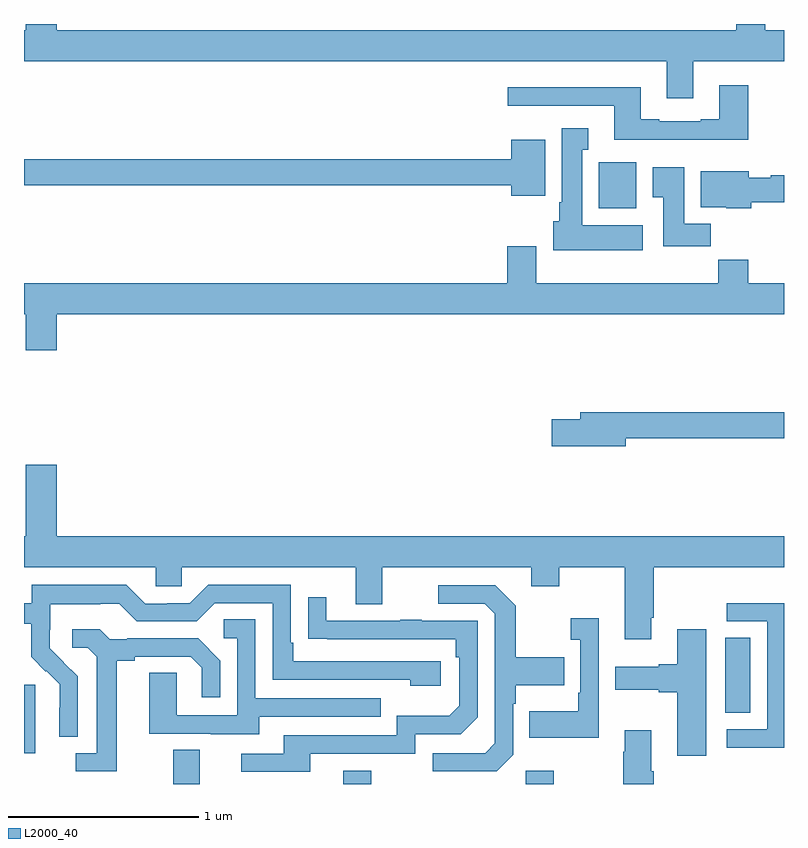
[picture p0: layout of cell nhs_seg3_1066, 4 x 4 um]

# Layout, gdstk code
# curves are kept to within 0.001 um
import gdstk
lib = gdstk.Library(unit=1e-6, precision=1e-09)
def R(c, l, rs):  # rectangles x0, y0, x1, y1
    for r in rs: c.add(gdstk.rectangle(r[:2], r[2:], *l))
def P(c, l, *ps):  # polygons
    for p in ps: c.add(gdstk.Polygon(p, *l))
L2000_40 = (2000, 40)

nhs_seg3_1066 = lib.new_cell('nhs_seg3_1066')
R(nhs_seg3_1066, L2000_40, [(165.785,742.4,165.925,742.58), (166.679,742.4,166.827,742.471), (167.64,742.4,167.787,742.471), (165,742.562,165.058,742.923), (168.692,742.774,168.823,743.171), (168.026,745.43,168.223,745.672)])
P(nhs_seg3_1066, L2000_40, [(168.523,746.204),(169,746.204),(169,746.368),(168.901,746.368),(168.901,746.4),(168.749,746.4),(168.749,746.368),(165.172,746.368),(165.172,746.4),(165.008,746.4),(165.008,746.368),(165,746.368),(165,746.204),(168.383,746.204),(168.383,746.01),(168.523,746.01)],
  [(168.812,746.077),(168.659,746.077),(168.659,745.9),(168.563,745.9),(168.563,745.887),(168.343,745.887),(168.343,745.9),(168.247,745.9),(168.247,746.068),(167.547,746.068),(167.547,745.971),(168.107,745.971),(168.107,745.79),(168.812,745.79)],
  [(168.256,745.342),(167.938,745.342),(167.938,745.739),(167.971,745.739),(167.971,745.852),(167.831,745.852),(167.831,745.462),(167.816,745.462),(167.816,745.362),(167.786,745.362),(167.786,745.208),(168.256,745.208)],
  [(167.743,745.792),(167.564,745.792),(167.564,745.688),(165,745.688),(165,745.552),(167.564,745.552),(167.564,745.496),(167.743,745.496)],
  [(168.614,745.348),(168.475,745.348),(168.475,745.645),(168.308,745.645),(168.308,745.489),(168.365,745.489),(168.365,745.23),(168.614,745.23)],
  [(168.827,745.462),(169,745.462),(169,745.604),(168.93,745.604),(168.93,745.591),(168.814,745.591),(168.814,745.624),(168.563,745.624),(168.563,745.436),(168.696,745.436),(168.696,745.43),(168.827,745.43)],
  [(165.172,744.872),(169,744.872),(169,745.036),(168.812,745.036),(168.812,745.16),(168.655,745.16),(168.655,745.036),(167.695,745.036),(167.695,745.231),(167.543,745.231),(167.543,745.036),(165,745.036),(165,744.872),(165.008,744.872),(165.008,744.684),(165.172,744.684)],
  [(168.166,744.22),(169,744.22),(169,744.356),(167.927,744.356),(167.927,744.32),(167.778,744.32),(167.778,744.178),(168.166,744.178)],
  [(168.301,743.275),(168.314,743.275),(168.314,743.54),(169,743.54),(169,743.704),(165.172,743.704),(165.172,744.079),(165.008,744.079),(165.008,743.704),(165,743.704),(165,743.54),(165.693,743.54),(165.693,743.442),(165.831,743.442),(165.831,743.54),(166.745,743.54),(166.745,743.346),(166.885,743.346),(166.885,743.54),(167.669,743.54),(167.669,743.441),(167.817,743.441),(167.817,743.54),(168.161,743.54),(168.161,743.163),(168.301,743.163)],
  [(165.282,742.966),(165.136,743.114),(165.136,743.211),(165.138,743.211),(165.138,743.345),(165.401,743.345),(165.401,743.349),(165.501,743.349),(165.594,743.256),(165.909,743.256),(166.005,743.352),(166.308,743.352),(166.308,742.95),(167.033,742.95),(167.033,742.916),(167.194,742.916),(167.194,743.046),(166.417,743.046),(166.417,743.143),(166.404,743.143),(166.404,743.448),(165.969,743.448),(165.873,743.352),(165.755,743.352),(165.755,743.349),(165.639,743.349),(165.539,743.449),(165.042,743.449),(165.042,743.352),(165,743.352),(165,743.244),(165.037,743.244),(165.037,743.069),(165.114,742.992),(165.117,742.995),(165.188,742.925),(165.188,742.802),(165.186,742.802),(165.186,742.648),(165.282,742.648)],
  [(167.574,742.554),(167.574,742.823),(167.587,742.823),(167.587,742.919),(167.843,742.919),(167.843,743.067),(167.587,743.067),(167.587,743.339),(167.481,743.445),(167.181,743.445),(167.181,743.349),(167.424,743.349),(167.478,743.295),(167.478,742.614),(167.427,742.563),(167.151,742.563),(167.151,742.467),(167.487,742.467)],
  [(166.507,742.56),(167.058,742.56),(167.058,742.662),(167.298,742.662),(167.388,742.752),(167.388,743.259),(167.093,743.259),(167.093,743.264),(166.981,743.264),(166.981,743.259),(166.591,743.259),(166.591,743.383),(166.495,743.383),(166.495,743.164),(167.272,743.163),(167.272,743.066),(167.292,743.066),(167.292,742.812),(167.239,742.759),(166.962,742.759),(166.962,742.656),(166.367,742.656),(166.367,742.56),(166.143,742.56),(166.143,742.464),(166.507,742.464)],
  [(169,743.352),(168.699,743.352),(168.699,743.256),(168.912,743.256),(168.912,742.689),(168.699,742.689),(168.699,742.591),(169,742.591)],
  [(168.024,743.272),(167.877,743.272),(167.877,743.159),(167.928,743.159),(167.928,742.879),(167.916,742.879),(167.916,742.783),(167.659,742.783),(167.659,742.643),(168.024,742.643)],
  [(166.237,742.755),(166.877,742.755),(166.877,742.851),(166.218,742.851),(166.218,743.267),(166.05,743.267),(166.05,743.166),(166.122,743.166),(166.122,742.761),(165.804,742.761),(165.804,742.985),(165.659,742.985),(165.659,742.665),(165.983,742.665),(165.983,742.661),(166.237,742.661)],
  [(168.592,743.215),(168.437,743.215),(168.437,743.03),(168.341,743.03),(168.341,743.017),(168.111,743.017),(168.111,742.895),(168.341,742.895),(168.341,742.883),(168.437,742.883),(168.437,742.548),(168.592,742.548)],
  [(165.487,743.048),(165.583,743.048),(165.583,743.07),(165.878,743.07),(165.935,743.013),(165.935,742.857),(166.032,742.857),(166.032,743.05),(165.916,743.166),(165.544,743.166),(165.544,743.163),(165.45,743.163),(165.398,743.215),(165.255,743.215),(165.255,743.118),(165.336,743.118),(165.383,743.071),(165.383,742.563),(165.273,742.563),(165.273,742.467),(165.487,742.467)],
  [(168.314,742.468),(168.301,742.468),(168.301,742.684),(168.161,742.684),(168.161,742.571),(168.154,742.571),(168.154,742.4),(168.314,742.4)])

lib.write_gds('nhs_seg3_1066.gds')
